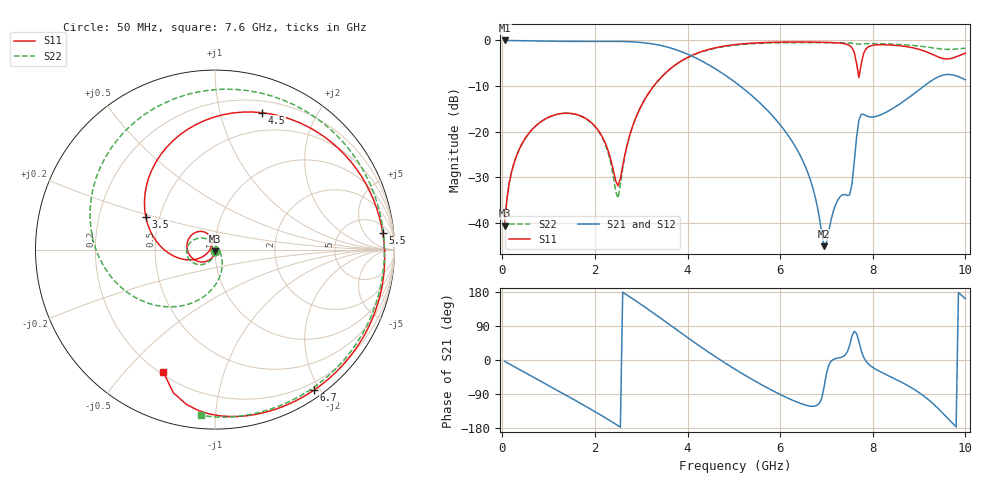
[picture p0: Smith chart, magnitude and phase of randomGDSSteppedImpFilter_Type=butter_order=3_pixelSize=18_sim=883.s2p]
! freq	dB(S11)	phase(S11)	dB(S12)	phase(S12)
!  dB(S21)	phase(S21)	dB(S22)	phase(S22)
!S-par simulation data
#  GHz  S  DB  R 50
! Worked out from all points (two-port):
!   200 points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, 50 MHz to 10 GHz, reference 50 ohm
!   highest |S21| = -0.02 dB at 50 MHz (marker M1); lowest = -45.2 dB at 6.95 GHz (marker M2)
!   |S21| within 3 dB of the highest: start of sweep to 3.999 GHz
!   lowest |S11| = -40.7 dB at 50 MHz (marker M3), VSWR 1.02, Z = 50.1 - j0.925 ohm
!   |S11| at or under -10 dB: start of sweep to 3.272 GHz
!   |S22| runs from -40.6 to -0.5 dB; largest |S21 - S12| = 0
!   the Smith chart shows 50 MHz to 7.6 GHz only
!   S11 on the Smith chart (normalised r, x): 50 MHz: 1.00, -0.02; 3.5 GHz: 0.42, +0.19; 4.5 GHz: 0.31, +1.35; 5.5 GHz: 9, +15; 6.7 GHz: 0.10, -1.92; 7.6 GHz: 0.21, -0.64
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0.05  -40.67 -86.2  -0.02 -3.4  -0.02 -3.4  -40.65 -85.4
0.2  -28.89 -103.8  -0.03 -13.6  -0.03 -13.6  -28.87 -100.5
0.55  -20.71 -132.1  -0.09 -37.2  -0.09 -37.2  -20.70 -122.9
1.75  -16.84 138.2  -0.23 -118.6  -0.23 -118.6  -16.91 163.8
2.5  -31.94 161.0  -0.22 -173.3  -0.22 -173.3  -34.60 23.7
2.8  -19.27 -152.0  -0.32 162.9  -0.32 162.9  -19.25 -69.0
3.4  -8.45 163.4  -1.07 112.0  -1.07 112.0  -8.43 -123.3
3.5  -7.40 154.7  -1.30 103.2  -1.30 103.2  -7.39 -132.0
4.5  -1.87 71.1  -5.62 16.9  -5.62 16.9  -1.95 139.7
5.05  -0.90 32.7  -9.35 -26.2  -9.35 -26.2  -1.01 91.4
5.5  -0.54 5.5  -13.13 -58.6  -13.13 -58.6  -0.68 52.5
6.1  -0.37 -26.2  -19.83 -96.9  -19.83 -96.9  -0.51 3.5
6.7  -0.38 -54.9  -32.18 -122.2  -32.18 -122.2  -0.49 -40.1
6.95  -0.42 -66.7  -45.16 -70.2  -45.16 -70.2  -0.50 -56.5
7.6  -2.62 -113.0  -26.64 75.8  -26.64 75.8  -0.68 -95.0
7.7  -8.15 -96.4  -17.55 49.0  -17.55 49.0  -0.84 -99.6
7.8  -2.91 -77.8  -16.23 8.2  -16.23 8.2  -0.75 -104.0
8.35  -0.99 -122.4  -15.43 -42.2  -15.43 -42.2  -0.80 -131.7
9  -1.96 -177.8  -10.84 -86.0  -10.84 -86.0  -1.24 -161.9
9.45  -3.78 103.2  -7.85 -132.6  -7.85 -132.6  -1.85 -179.8
9.75  -3.80 28.3  -7.63 -170.4  -7.63 -170.4  -1.94 170.6
10  -2.80 -20.7  -8.65 161.9  -8.65 161.9  -1.71 161.2
